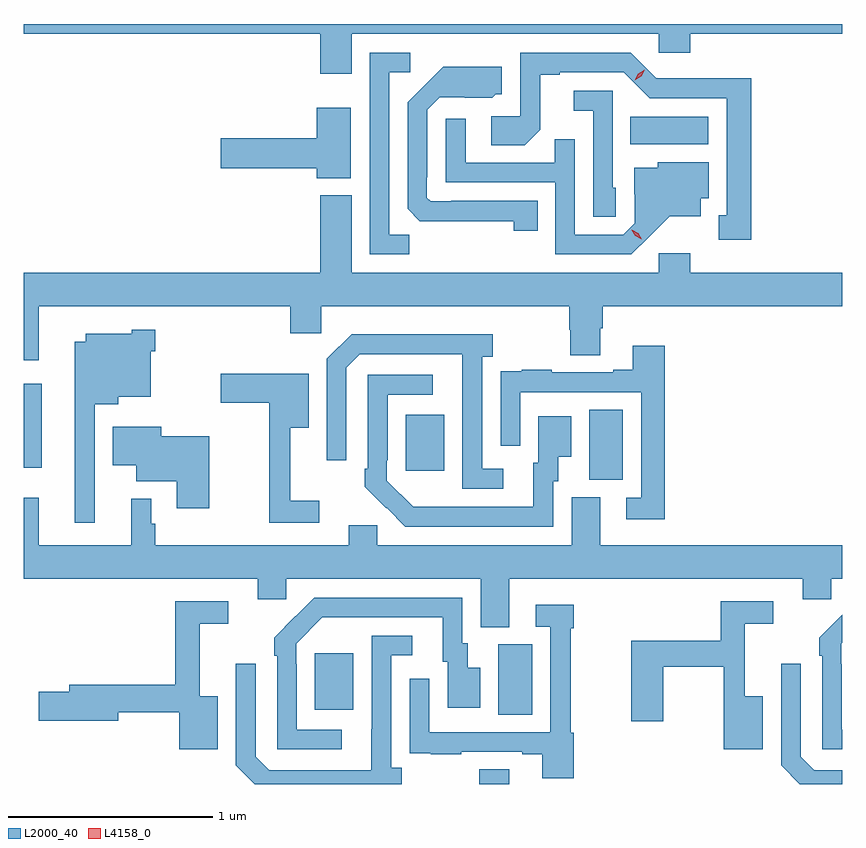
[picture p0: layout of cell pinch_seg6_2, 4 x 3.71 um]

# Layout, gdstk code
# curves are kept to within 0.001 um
import gdstk
lib = gdstk.Library(unit=1e-6, precision=1e-09)
def R(c, l, rs):  # rectangles x0, y0, x1, y1
    for r in rs: c.add(gdstk.rectangle(r[:2], r[2:], *l))
def P(c, l, *ps):  # polygons
    for p in ps: c.add(gdstk.Polygon(p, *l))
L2000_40 = (2000, 40)
L4158_0 = (4158, 0)

pinch_seg6_2 = lib.new_cell('pinch_seg6_2')
R(pinch_seg6_2, L2000_40, [(1062.148,994.286,1062.295,994.358), (1062.242,994.624,1062.406,994.968), (1061.345,994.649,1061.533,994.924), (1062.686,995.773,1062.85,996.116), (1061.789,995.817,1061.977,996.091), (1059.922,995.831,1060.009,996.241), (1062.886,997.412,1063.267,997.546)])
P(pinch_seg6_2, L2000_40, [(1061.524,997.952),(1063.026,997.952),(1063.026,997.859),(1063.178,997.859),(1063.178,997.952),(1063.922,997.952),(1063.922,998),(1059.922,998),(1059.922,997.952),(1061.372,997.952),(1061.372,997.758),(1061.524,997.758)],
  [(1063.477,997.736),(1063.236,997.736),(1063.236,997.734),(1063.014,997.734),(1062.888,997.86),(1062.348,997.86),(1062.348,997.548),(1062.207,997.548),(1062.207,997.408),(1062.371,997.408),(1062.447,997.484),(1062.447,997.752),(1062.541,997.752),(1062.541,997.764),(1062.855,997.764),(1062.981,997.638),(1063.358,997.638),(1063.358,997.065),(1063.319,997.065),(1063.319,996.945),(1063.477,996.945)],
  [(1061.805,996.971),(1061.709,996.971),(1061.709,997.764),(1061.812,997.764),(1061.812,997.86),(1061.613,997.86),(1061.613,996.876),(1061.805,996.876)],
  [(1062.434,997.137),(1062.01,997.137),(1062.01,997.134),(1061.91,997.134),(1061.892,997.152),(1061.892,997.252),(1061.895,997.252),(1061.895,997.581),(1061.955,997.641),(1062.212,997.64),(1062.228,997.656),(1062.259,997.656),(1062.259,997.792),(1061.971,997.792),(1061.799,997.618),(1061.799,997.096),(1061.858,997.037),(1062.316,997.036),(1062.316,996.99),(1062.434,996.99)],
  [(1062.816,997.2),(1062.801,997.2),(1062.801,997.674),(1062.609,997.674),(1062.609,997.577),(1062.705,997.577),(1062.705,997.057),(1062.816,997.057)],
  [(1061.521,997.591),(1061.354,997.591),(1061.354,997.442),(1060.884,997.442),(1060.884,997.295),(1061.354,997.295),(1061.354,997.247),(1061.521,997.247)],
  [(1062.976,996.959),(1063.079,997.061),(1063.231,997.061),(1063.231,997.148),(1063.27,997.148),(1063.27,997.324),(1063.02,997.324),(1063.02,997.297),(1062.905,997.297),(1062.905,997.168),(1062.909,997.168),(1062.909,997.026),(1062.852,996.969),(1062.615,996.969),(1062.615,997.436),(1062.517,997.436),(1062.517,997.323),(1062.081,997.323),(1062.081,997.537),(1061.985,997.537),(1061.985,997.227),(1062.519,997.227),(1062.519,996.876),(1062.892,996.876)],
  [(1061.372,996.784),(1059.922,996.784),(1059.922,996.357),(1059.996,996.357),(1059.996,996.62),(1061.225,996.62),(1061.225,996.489),(1061.376,996.489),(1061.376,996.62),(1062.587,996.62),(1062.587,996.507),(1062.592,996.507),(1062.592,996.382),(1062.739,996.382),(1062.739,996.514),(1062.752,996.514),(1062.752,996.62),(1063.922,996.62),(1063.922,996.784),(1063.178,996.784),(1063.178,996.88),(1063.026,996.88),(1063.026,996.784),(1061.524,996.784),(1061.524,997.162),(1061.372,997.162)],
  [(1060.269,996.143),(1060.384,996.143),(1060.384,996.179),(1060.543,996.179),(1060.543,996.401),(1060.565,996.401),(1060.565,996.505),(1060.449,996.505),(1060.449,996.487),(1060.226,996.487),(1060.226,996.448),(1060.172,996.448),(1060.172,995.562),(1060.269,995.562)],
  [(1062.265,995.826),(1062.162,995.826),(1062.162,996.374),(1062.214,996.374),(1062.214,996.484),(1061.524,996.484),(1061.403,996.363),(1061.403,995.868),(1061.499,995.868),(1061.499,996.321),(1061.565,996.387),(1062.065,996.387),(1062.066,995.73),(1062.265,995.73)],
  [(1063.055,996.427),(1062.899,996.427),(1062.899,996.31),(1062.803,996.31),(1062.803,996.297),(1062.503,996.297),(1062.503,996.31),(1062.355,996.31),(1062.355,996.303),(1062.253,996.303),(1062.253,996.194),(1062.252,996.194),(1062.252,995.94),(1062.348,995.94),(1062.348,996.201),(1062.939,996.201),(1062.939,995.685),(1062.867,995.685),(1062.867,995.58),(1063.055,995.58)],
  [(1061.365,995.671),(1061.225,995.671),(1061.225,996.026),(1061.314,996.026),(1061.314,996.291),(1060.884,996.291),(1060.884,996.149),(1061.122,996.149),(1061.122,995.562),(1061.365,995.562)],
  [(1062.51,995.766),(1062.535,995.766),(1062.535,995.885),(1062.598,995.885),(1062.598,996.082),(1062.437,996.082),(1062.437,995.856),(1062.413,995.856),(1062.413,995.64),(1061.826,995.641),(1061.697,995.769),(1061.697,995.869),(1061.7,995.869),(1061.7,996.189),(1061.92,996.189),(1061.92,996.285),(1061.604,996.285),(1061.604,995.827),(1061.589,995.827),(1061.589,995.739),(1061.786,995.544),(1062.51,995.544)],
  [(1060.828,995.986),(1060.594,995.986),(1060.594,996.031),(1060.358,996.031),(1060.358,995.843),(1060.472,995.843),(1060.472,995.765),(1060.67,995.765),(1060.67,995.634),(1060.828,995.634)],
  [(1062.295,995.288),(1063.73,995.288),(1063.73,995.19),(1063.869,995.19),(1063.869,995.288),(1063.922,995.288),(1063.922,995.452),(1062.739,995.452),(1062.739,995.688),(1062.599,995.688),(1062.599,995.452),(1061.649,995.452),(1061.649,995.55),(1061.51,995.55),(1061.51,995.452),(1060.565,995.452),(1060.565,995.559),(1060.545,995.559),(1060.545,995.68),(1060.448,995.68),(1060.448,995.452),(1059.995,995.452),(1059.995,995.686),(1059.922,995.686),(1059.922,995.288),(1061.066,995.288),(1061.066,995.19),(1061.205,995.19),(1061.205,995.288),(1062.155,995.288),(1062.155,995.053),(1062.295,995.053)],
  [(1061.476,994.551),(1061.256,994.551),(1061.256,994.871),(1061.253,994.871),(1061.253,994.971),(1061.382,995.1),(1061.969,995.1),(1061.969,994.884),(1061.993,994.884),(1061.993,994.659),(1062.154,994.659),(1062.154,994.855),(1062.091,994.855),(1062.091,994.974),(1062.066,994.974),(1062.066,995.196),(1061.342,995.196),(1061.145,995.001),(1061.145,994.913),(1061.16,994.913),(1061.16,994.455),(1061.476,994.455)],
  [(1063.534,994.714),(1063.445,994.714),(1063.445,995.07),(1063.585,995.07),(1063.585,995.178),(1063.327,995.178),(1063.327,994.987),(1062.89,994.987),(1062.89,994.593),(1063.048,994.593),(1063.048,994.858),(1063.342,994.858),(1063.342,994.457),(1063.534,994.457)],
  [(1060.87,994.714),(1060.781,994.714),(1060.781,995.07),(1060.921,995.07),(1060.921,995.178),(1060.663,995.178),(1060.663,994.772),(1060.145,994.772),(1060.145,994.736),(1059.996,994.736),(1059.996,994.594),(1060.384,994.594),(1060.384,994.636),(1060.683,994.636),(1060.683,994.457),(1060.87,994.457)],
  [(1062.611,994.536),(1062.596,994.536),(1062.596,995.048),(1062.611,995.048),(1062.611,995.161),(1062.423,995.161),(1062.423,995.055),(1062.495,995.055),(1062.495,994.539),(1061.904,994.539),(1061.904,994.801),(1061.808,994.801),(1061.808,994.546),(1061.809,994.546),(1061.809,994.437),(1061.911,994.437),(1061.911,994.431),(1062.059,994.431),(1062.059,994.443),(1062.359,994.443),(1062.359,994.431),(1062.455,994.431),(1062.455,994.314),(1062.611,994.314)],
  [(1063.922,994.551),(1063.92,994.551),(1063.92,994.871),(1063.917,994.871),(1063.917,994.971),(1063.922,994.976),(1063.922,995.112),(1063.915,995.105),(1063.914,995.106),(1063.809,995.001),(1063.809,994.913),(1063.824,994.913),(1063.824,994.455),(1063.922,994.455)],
  [(1061.77,994.366),(1061.718,994.366),(1061.718,994.914),(1061.821,994.914),(1061.821,995.01),(1061.622,995.01),(1061.621,994.353),(1061.121,994.353),(1061.055,994.419),(1061.055,994.873),(1060.959,994.873),(1060.959,994.377),(1061.05,994.286),(1061.77,994.286)],
  [(1063.922,994.353),(1063.785,994.353),(1063.719,994.419),(1063.719,994.873),(1063.623,994.873),(1063.623,994.377),(1063.714,994.286),(1063.922,994.286)])
P(pinch_seg6_2, L4158_0, [(1062.907,997.725),(1062.907,997.725),(1062.925,997.758),(1062.957,997.776),(1062.957,997.776),(1062.957,997.776),(1062.939,997.744),(1062.908,997.725)],
  [(1062.941,996.948),(1062.91,996.964),(1062.893,996.993),(1062.893,996.994),(1062.893,996.994),(1062.924,996.978),(1062.941,996.948),(1062.941,996.948)])

lib.write_gds('pinch_seg6_2.gds')
